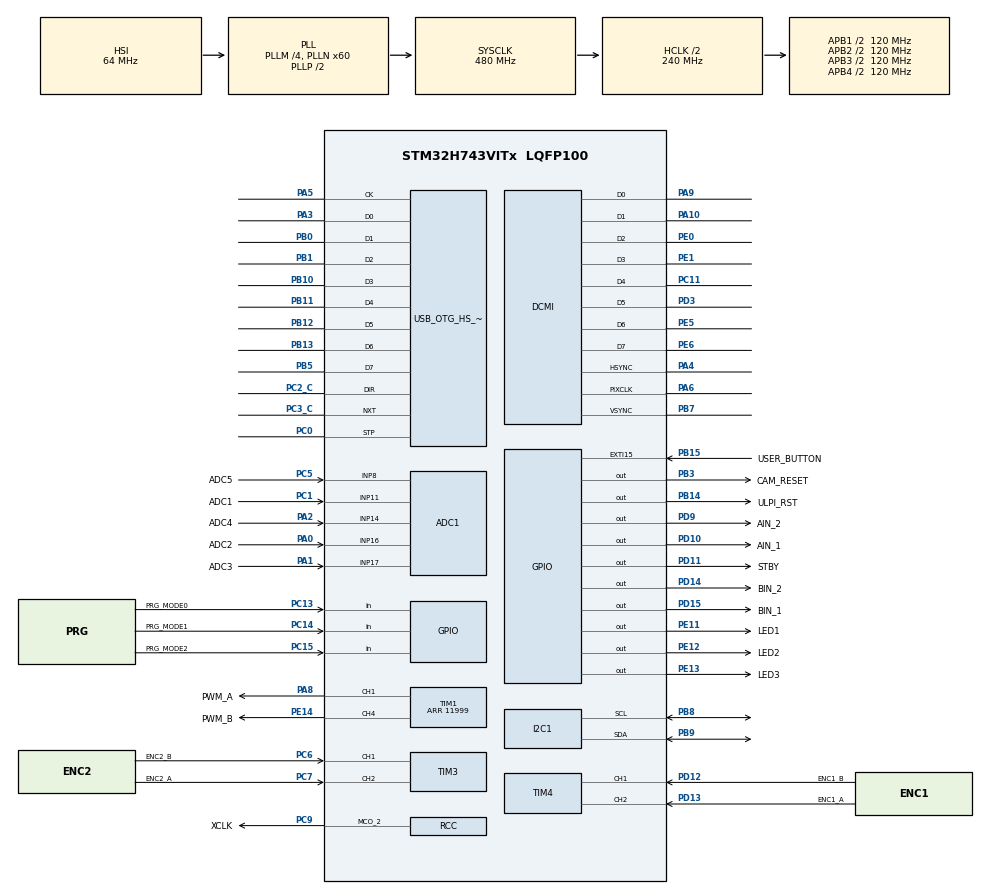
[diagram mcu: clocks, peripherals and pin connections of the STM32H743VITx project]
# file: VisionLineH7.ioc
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ADC1.Channel-1\#ChannelRegularConversion=ADC_CHANNEL_11
ADC1.Channel-2\#ChannelRegularConversion=ADC_CHANNEL_16
ADC1.Channel-3\#ChannelRegularConversion=ADC_CHANNEL_17
ADC1.Channel-4\#ChannelRegularConversion=ADC_CHANNEL_14
ADC1.Channel-5\#ChannelRegularConversion=ADC_CHANNEL_8
ADC1.ContinuousConvMode=ENABLE
ADC1.NbrOfConversion=5
ADC1.NbrOfConversionFlag=1
ADC1.OffsetNumber-1\#ChannelRegularConversion=ADC_OFFSET_NONE
ADC1.OffsetNumber-2\#ChannelRegularConversion=ADC_OFFSET_NONE
ADC1.OffsetNumber-3\#ChannelRegularConversion=ADC_OFFSET_NONE
ADC1.OffsetNumber-4\#ChannelRegularConversion=ADC_OFFSET_NONE
ADC1.OffsetNumber-5\#ChannelRegularConversion=ADC_OFFSET_NONE
ADC1.OffsetSignedSaturation-1\#ChannelRegularConversion=DISABLE
ADC1.OffsetSignedSaturation-2\#ChannelRegularConversion=DISABLE
ADC1.OffsetSignedSaturation-3\#ChannelRegularConversion=DISABLE
ADC1.OffsetSignedSaturation-4\#ChannelRegularConversion=DISABLE
ADC1.OffsetSignedSaturation-5\#ChannelRegularConversion=DISABLE
ADC1.Rank-1\#ChannelRegularConversion=1
ADC1.Rank-2\#ChannelRegularConversion=2
ADC1.Rank-3\#ChannelRegularConversion=3
ADC1.Rank-4\#ChannelRegularConversion=4
ADC1.Rank-5\#ChannelRegularConversion=5
ADC1.Ratio=4
ADC1.SamplingTime-1\#ChannelRegularConversion=ADC_SAMPLETIME_8CYCLES_5
ADC1.SamplingTime-2\#ChannelRegularConversion=ADC_SAMPLETIME_8CYCLES_5
ADC1.SamplingTime-3\#ChannelRegularConversion=ADC_SAMPLETIME_8CYCLES_5
ADC1.SamplingTime-4\#ChannelRegularConversion=ADC_SAMPLETIME_8CYCLES_5
ADC1.SamplingTime-5\#ChannelRegularConversion=ADC_SAMPLETIME_8CYCLES_5
ADC1.master=1
CORTEX_M7.CPU_DCache=Enabled
CORTEX_M7.CPU_ICache=Enabled
CORTEX_M7.default_mode_Activation=1
DCMI.CaptureRate=DCMI_CR_ALL_FRAME
DCMI.HSPolarity=DCMI_HSPOLARITY_LOW
DCMI.JPEGMode=DCMI_JPEG_DISABLE
DCMI.PCKPolarity=DCMI_PCKPOLARITY_RISING
DCMI.VSPolarity=DCMI_VSPOLARITY_LOW
Dma.ADC1.2.Direction=DMA_PERIPH_TO_MEMORY
Dma.ADC1.2.EventEnable=DISABLE
Dma.ADC1.2.FIFOMode=DMA_FIFOMODE_DISABLE
Dma.ADC1.2.Instance=DMA1_Stream2
Dma.ADC1.2.MemDataAlignment=DMA_MDATAALIGN_HALFWORD
Dma.ADC1.2.MemInc=DMA_MINC_ENABLE
Dma.ADC1.2.Mode=DMA_NORMAL
Dma.ADC1.2.PeriphDataAlignment=DMA_PDATAALIGN_HALFWORD
Dma.ADC1.2.PeriphInc=DMA_PINC_DISABLE
Dma.ADC1.2.Polarity=HAL_DMAMUX_REQ_GEN_RISING
Dma.ADC1.2.Priority=DMA_PRIORITY_HIGH
Dma.ADC1.2.RequestNumber=1
Dma.ADC1.2.SignalID=NONE
Dma.ADC1.2.SyncEnable=DISABLE
Dma.ADC1.2.SyncPolarity=HAL_DMAMUX_SYNC_NO_EVENT
Dma.ADC1.2.SyncRequestNumber=1
Dma.ADC1.2.SyncSignalID=NONE
Dma.DCMI.0.Direction=DMA_PERIPH_TO_MEMORY
Dma.DCMI.0.EventEnable=DISABLE
Dma.DCMI.0.FIFOMode=DMA_FIFOMODE_ENABLE
Dma.DCMI.0.FIFOThreshold=DMA_FIFO_THRESHOLD_FULL
Dma.DCMI.0.Instance=DMA1_Stream0
Dma.DCMI.0.MemBurst=DMA_MBURST_SINGLE
Dma.DCMI.0.MemDataAlignment=DMA_MDATAALIGN_WORD
Dma.DCMI.0.MemInc=DMA_MINC_ENABLE
Dma.DCMI.0.Mode=DMA_CIRCULAR
Dma.DCMI.0.PeriphBurst=DMA_PBURST_SINGLE
Dma.DCMI.0.PeriphDataAlignment=DMA_PDATAALIGN_WORD
Dma.DCMI.0.PeriphInc=DMA_PINC_DISABLE
Dma.DCMI.0.Polarity=HAL_DMAMUX_REQ_GEN_RISING
Dma.DCMI.0.Priority=DMA_PRIORITY_HIGH
Dma.DCMI.0.RequestNumber=1
Dma.DCMI.0.SignalID=NONE
Dma.DCMI.0.SyncEnable=DISABLE
Dma.DCMI.0.SyncPolarity=HAL_DMAMUX_SYNC_NO_EVENT
Dma.DCMI.0.SyncRequestNumber=1
Dma.DCMI.0.SyncSignalID=NONE
Dma.MEMTOMEM.1.Direction=DMA_MEMORY_TO_MEMORY
Dma.MEMTOMEM.1.EventEnable=DISABLE
Dma.MEMTOMEM.1.FIFOMode=DMA_FIFOMODE_ENABLE
Dma.MEMTOMEM.1.FIFOThreshold=DMA_FIFO_THRESHOLD_FULL
Dma.MEMTOMEM.1.Instance=DMA1_Stream1
Dma.MEMTOMEM.1.MemBurst=DMA_MBURST_INC4
Dma.MEMTOMEM.1.MemDataAlignment=DMA_MDATAALIGN_WORD
Dma.MEMTOMEM.1.MemInc=DMA_MINC_ENABLE
Dma.MEMTOMEM.1.Mode=DMA_NORMAL
Dma.MEMTOMEM.1.PeriphBurst=DMA_PBURST_INC4
Dma.MEMTOMEM.1.PeriphDataAlignment=DMA_PDATAALIGN_WORD
Dma.MEMTOMEM.1.PeriphInc=DMA_PINC_ENABLE
Dma.MEMTOMEM.1.Polarity=HAL_DMAMUX_REQ_GEN_RISING
Dma.MEMTOMEM.1.Priority=DMA_PRIORITY_HIGH
Dma.MEMTOMEM.1.RequestNumber=1
Dma.MEMTOMEM.1.SignalID=NONE
Dma.MEMTOMEM.1.SyncEnable=DISABLE
Dma.MEMTOMEM.1.SyncPolarity=HAL_DMAMUX_SYNC_NO_EVENT
Dma.MEMTOMEM.1.SyncRequestNumber=1
Dma.MEMTOMEM.1.SyncSignalID=NONE
Dma.Request0=DCMI
Dma.Request1=MEMTOMEM
Dma.Request2=ADC1
I2C1.Timing=0x307075B1
JPEG.JPEG_RGB_FORMAT=JPEG_RGB565
JPEG.USE_JPEG_DECODER=0
JPEG.USE_JPEG_ENCODER=1
Mcu.Family=STM32H7
Mcu.Name=STM32H743VITx
Mcu.Package=LQFP100
Mdma.MDMA_Channel0.JPEG_OUTFIFO_TH.0.BlockCount=0
Mdma.MDMA_Channel0.JPEG_OUTFIFO_TH.0.BlockDataLength=0
Mdma.MDMA_Channel0.JPEG_OUTFIFO_TH.0.BufferTransferLength=32
Mdma.MDMA_Channel0.JPEG_OUTFIFO_TH.0.CircularMode=MDMA_LINEAR_LIST
Mdma.MDMA_Channel0.JPEG_OUTFIFO_TH.0.DataAlignment=MDMA_DATAALIGN_PACKENABLE
Mdma.MDMA_Channel0.JPEG_OUTFIFO_TH.0.DestBlockAddressOffset=0
Mdma.MDMA_Channel0.JPEG_OUTFIFO_TH.0.DestBurst=MDMA_DEST_BURST_32BEATS
Mdma.MDMA_Channel0.JPEG_OUTFIFO_TH.0.DestDataSize=MDMA_DEST_DATASIZE_BYTE
Mdma.MDMA_Channel0.JPEG_OUTFIFO_TH.0.DestinationInc=MDMA_DEST_INC_BYTE
Mdma.MDMA_Channel0.JPEG_OUTFIFO_TH.0.DstAddress=0
Mdma.MDMA_Channel0.JPEG_OUTFIFO_TH.0.Endianness=MDMA_LITTLE_ENDIANNESS_PRESERVE
Mdma.MDMA_Channel0.JPEG_OUTFIFO_TH.0.Instance=MDMA_Channel0
Mdma.MDMA_Channel0.JPEG_OUTFIFO_TH.0.MaskAddress=0
Mdma.MDMA_Channel0.JPEG_OUTFIFO_TH.0.MaskData=0
Mdma.MDMA_Channel0.JPEG_OUTFIFO_TH.0.Priority=MDMA_PRIORITY_VERY_HIGH
Mdma.MDMA_Channel0.JPEG_OUTFIFO_TH.0.Rank=First
Mdma.MDMA_Channel0.JPEG_OUTFIFO_TH.0.SourceBlockAddressOffset=0
Mdma.MDMA_Channel0.JPEG_OUTFIFO_TH.0.SourceBurst=MDMA_SOURCE_BURST_32BEATS
Mdma.MDMA_Channel0.JPEG_OUTFIFO_TH.0.SourceDataSize=MDMA_SRC_DATASIZE_WORD
Mdma.MDMA_Channel0.JPEG_OUTFIFO_TH.0.SourceInc=MDMA_SRC_INC_DISABLE
Mdma.MDMA_Channel0.JPEG_OUTFIFO_TH.0.SrcAddress=0
Mdma.MDMA_Channel0.JPEG_OUTFIFO_TH.0.TransferTriggerMode=MDMA_BUFFER_TRANSFER
Mdma.MDMA_Channel0.Request0=JPEG_OUTFIFO_TH
Mdma.MDMA_Channel0.RequestsNb=1
Mdma.MDMA_Channel1.JPEG_INFIFO_TH.0.BlockCount=0
Mdma.MDMA_Channel1.JPEG_INFIFO_TH.0.BlockDataLength=0
Mdma.MDMA_Channel1.JPEG_INFIFO_TH.0.BufferTransferLength=32
Mdma.MDMA_Channel1.JPEG_INFIFO_TH.0.CircularMode=MDMA_LINEAR_LIST
Mdma.MDMA_Channel1.JPEG_INFIFO_TH.0.DataAlignment=MDMA_DATAALIGN_PACKENABLE
Mdma.MDMA_Channel1.JPEG_INFIFO_TH.0.DestBlockAddressOffset=0
Mdma.MDMA_Channel1.JPEG_INFIFO_TH.0.DestBurst=MDMA_DEST_BURST_16BEATS
Mdma.MDMA_Channel1.JPEG_INFIFO_TH.0.DestDataSize=MDMA_DEST_DATASIZE_WORD
Mdma.MDMA_Channel1.JPEG_INFIFO_TH.0.DestinationInc=MDMA_DEST_INC_DISABLE
Mdma.MDMA_Channel1.JPEG_INFIFO_TH.0.DstAddress=0
Mdma.MDMA_Channel1.JPEG_INFIFO_TH.0.Endianness=MDMA_LITTLE_ENDIANNESS_PRESERVE
Mdma.MDMA_Channel1.JPEG_INFIFO_TH.0.Instance=MDMA_Channel1
Mdma.MDMA_Channel1.JPEG_INFIFO_TH.0.MaskAddress=0
Mdma.MDMA_Channel1.JPEG_INFIFO_TH.0.MaskData=0
Mdma.MDMA_Channel1.JPEG_INFIFO_TH.0.Priority=MDMA_PRIORITY_VERY_HIGH
Mdma.MDMA_Channel1.JPEG_INFIFO_TH.0.Rank=First
Mdma.MDMA_Channel1.JPEG_INFIFO_TH.0.SourceBlockAddressOffset=0
Mdma.MDMA_Channel1.JPEG_INFIFO_TH.0.SourceBurst=MDMA_SOURCE_BURST_32BEATS
Mdma.MDMA_Channel1.JPEG_INFIFO_TH.0.SourceDataSize=MDMA_SRC_DATASIZE_BYTE
Mdma.MDMA_Channel1.JPEG_INFIFO_TH.0.SourceInc=MDMA_SRC_INC_BYTE
Mdma.MDMA_Channel1.JPEG_INFIFO_TH.0.SrcAddress=0
Mdma.MDMA_Channel1.JPEG_INFIFO_TH.0.TransferTriggerMode=MDMA_BUFFER_TRANSFER
Mdma.MDMA_Channel1.Request0=JPEG_INFIFO_TH
Mdma.MDMA_Channel1.RequestsNb=1
Mdma.RequestSet0=MDMA_Channel1
Mdma.RequestSet1=MDMA_Channel0
Mdma.RequestSetsNb=2
NVIC.DCMI_IRQn=true\:0\:0\:false\:false\:true\:true\:true\:true
NVIC.DMA1_Stream0_IRQn=true\:0\:0\:false\:false\:true\:false\:true\:true
NVIC.DMA1_Stream2_IRQn=true\:0\:0\:false\:false\:true\:false\:true\:true
NVIC.EXTI15_10_IRQn=true\:0\:0\:false\:false\:true\:true\:true\:true
NVIC.JPEG_IRQn=true\:0\:0\:false\:false\:true\:true\:true\:true
NVIC.MDMA_IRQn=true\:0\:0\:false\:false\:true\:false\:true\:true
NVIC.OTG_HS_IRQn=true\:0\:0\:false\:false\:true\:true\:true\:true
NVIC.PriorityGroup=NVIC_PRIORITYGROUP_4
NVIC.TIM7_IRQn=true\:15\:0\:false\:false\:true\:true\:true\:true
PA0.GPIO_Label=ADC2
PA0.Mode=IN16-Single-Ended
PA0.Signal=ADC1_INP16
PA1.GPIO_Label=ADC3
PA1.Mode=IN17-Single-Ended
PA1.Signal=ADC1_INP17
PA10.GPIO_Speed=GPIO_SPEED_FREQ_VERY_HIGH
PA10.Mode=Slave_8_bits_External_Synchro
PA10.Signal=DCMI_D1
PA13\ (JTMS/SWDIO).Mode=Serial_Wire
PA13\ (JTMS/SWDIO).Signal=DEBUG_JTMS-SWDIO
PA14\ (JTCK/SWCLK).Mode=Serial_Wire
PA14\ (JTCK/SWCLK).Signal=DEBUG_JTCK-SWCLK
PA2.GPIO_Label=ADC4
PA2.Signal=ADCx_INP14
PA3.GPIO_Speed_Only_High=GPIO_SPEED_FREQ_VERY_HIGH
PA3.Mode=Device_HS
PA3.Signal=USB_OTG_HS_ULPI_D0
PA4.GPIO_Speed=GPIO_SPEED_FREQ_VERY_HIGH
PA4.Mode=Slave_8_bits_External_Synchro
PA4.Signal=DCMI_HSYNC
PA5.GPIO_Speed_Only_High=GPIO_SPEED_FREQ_VERY_HIGH
PA5.Mode=Device_HS
PA5.Signal=USB_OTG_HS_ULPI_CK
PA6.GPIO_Speed=GPIO_SPEED_FREQ_VERY_HIGH
PA6.Mode=Slave_8_bits_External_Synchro
PA6.Signal=DCMI_PIXCLK
PA8.GPIO_Label=PWM_A
PA8.Signal=S_TIM1_CH1
PA9.GPIO_Speed=GPIO_SPEED_FREQ_VERY_HIGH
PA9.Mode=Slave_8_bits_External_Synchro
PA9.Signal=DCMI_D0
PB0.GPIO_Speed_Only_High=GPIO_SPEED_FREQ_VERY_HIGH
PB0.Mode=Device_HS
PB0.Signal=USB_OTG_HS_ULPI_D1
PB1.GPIO_Speed_Only_High=GPIO_SPEED_FREQ_VERY_HIGH
PB1.Mode=Device_HS
PB1.Signal=USB_OTG_HS_ULPI_D2
PB10.GPIO_Speed_Only_High=GPIO_SPEED_FREQ_VERY_HIGH
PB10.Mode=Device_HS
PB10.Signal=USB_OTG_HS_ULPI_D3
PB11.GPIO_Speed_Only_High=GPIO_SPEED_FREQ_VERY_HIGH
PB11.Mode=Device_HS
PB11.Signal=USB_OTG_HS_ULPI_D4
PB12.GPIO_Speed_Only_High=GPIO_SPEED_FREQ_VERY_HIGH
PB12.Mode=Device_HS
PB12.Signal=USB_OTG_HS_ULPI_D5
PB13.GPIO_Speed_Only_High=GPIO_SPEED_FREQ_VERY_HIGH
PB13.Mode=Device_HS
PB13.Signal=USB_OTG_HS_ULPI_D6
PB14.GPIO_Label=ULPI_RST
PB14.Signal=GPIO_Output
PB15.GPIO_Label=USER_BUTTON
PB15.GPIO_ModeDefaultEXTI=GPIO_MODE_IT_FALLING
PB15.Signal=GPXTI15
PB3\ (JTDO/TRACESWO).GPIO_Label=CAM_RESET
PB3\ (JTDO/TRACESWO).Signal=GPIO_Output
PB5.GPIO_Speed_Only_High=GPIO_SPEED_FREQ_VERY_HIGH
PB5.Mode=Device_HS
PB5.Signal=USB_OTG_HS_ULPI_D7
PB7.GPIO_FM7=__NULL
PB7.GPIO_Speed=GPIO_SPEED_FREQ_VERY_HIGH
PB7.Mode=Slave_8_bits_External_Synchro
PB7.Signal=DCMI_VSYNC
PB8.Mode=I2C
PB8.Signal=I2C1_SCL
PB9.Mode=I2C
PB9.Signal=I2C1_SDA
PC0.GPIO_Speed_Only_High=GPIO_SPEED_FREQ_VERY_HIGH
PC0.Mode=Device_HS
PC0.Signal=USB_OTG_HS_ULPI_STP
PC1.GPIO_Label=ADC1
PC1.Signal=ADCx_INP11
PC11.GPIO_Speed=GPIO_SPEED_FREQ_VERY_HIGH
PC11.Mode=Slave_8_bits_External_Synchro
PC11.Signal=DCMI_D4
PC13.GPIO_Label=PRG_MODE0
PC13.Signal=GPIO_Input
PC14-OSC32_IN\ (OSC32_IN).GPIO_Label=PRG_MODE1
PC14-OSC32_IN\ (OSC32_IN).Signal=GPIO_Input
PC15-OSC32_OUT\ (OSC32_OUT).GPIO_Label=PRG_MODE2
PC15-OSC32_OUT\ (OSC32_OUT).Signal=GPIO_Input
PC2_C.GPIO_Speed_Only_High=GPIO_SPEED_FREQ_VERY_HIGH
PC2_C.Mode=Device_HS
PC2_C.Signal=USB_OTG_HS_ULPI_DIR
PC3_C.GPIO_Speed_Only_High=GPIO_SPEED_FREQ_VERY_HIGH
PC3_C.Mode=Device_HS
PC3_C.Signal=USB_OTG_HS_ULPI_NXT
PC5.GPIO_Label=ADC5
PC5.Signal=ADCx_INP8
PC6.GPIO_Label=ENC2_B
PC6.Signal=S_TIM3_CH1
PC7.GPIO_Label=ENC2_A
PC7.Signal=S_TIM3_CH2
PC9.GPIO_Label=XCLK
PC9.GPIO_Speed=GPIO_SPEED_FREQ_HIGH
PC9.Mode=Clock-out-2
PC9.Signal=RCC_MCO_2
PD10.GPIO_Label=AIN_1
PD10.Signal=GPIO_Output
PD11.GPIO_Label=STBY
PD11.Signal=GPIO_Output
PD12.GPIO_Label=ENC1_B
PD12.Signal=S_TIM4_CH1
PD13.GPIO_Label=ENC1_A
PD13.Signal=S_TIM4_CH2
PD14.GPIO_Label=BIN_2
PD14.Signal=GPIO_Output
PD15.GPIO_Label=BIN_1
PD15.Signal=GPIO_Output
PD3.GPIO_Speed=GPIO_SPEED_FREQ_VERY_HIGH
PD3.Mode=Slave_8_bits_External_Synchro
PD3.Signal=DCMI_D5
PD9.GPIO_Label=AIN_2
PD9.Signal=GPIO_Output
PE0.GPIO_Speed=GPIO_SPEED_FREQ_VERY_HIGH
PE0.Mode=Slave_8_bits_External_Synchro
PE0.Signal=DCMI_D2
PE1.GPIO_Speed=GPIO_SPEED_FREQ_VERY_HIGH
PE1.Mode=Slave_8_bits_External_Synchro
PE1.Signal=DCMI_D3
PE11.GPIO_Label=LED1
PE11.Signal=GPIO_Output
PE12.GPIO_Label=LED2
PE12.Signal=GPIO_Output
PE13.GPIO_Label=LED3
PE13.Signal=GPIO_Output
PE14.GPIO_Label=PWM_B
PE14.Signal=S_TIM1_CH4
PE5.GPIO_Speed=GPIO_SPEED_FREQ_VERY_HIGH
PE5.Mode=Slave_8_bits_External_Synchro
PE5.Signal=DCMI_D6
PE6.GPIO_Speed=GPIO_SPEED_FREQ_VERY_HIGH
PE6.Mode=Slave_8_bits_External_Synchro
PE6.Signal=DCMI_D7
PH0-OSC_IN\ (PH0).Mode=HSE-External-Oscillator
PH0-OSC_IN\ (PH0).Signal=RCC_OSC_IN
PH1-OSC_OUT\ (PH1).Mode=HSE-External-Oscillator
PH1-OSC_OUT\ (PH1).Signal=RCC_OSC_OUT
ProjectManager.HeapSize=0x200
ProjectManager.StackSize=0x400
ProjectManager.TargetToolchain=CMake
RAMECC.Instance-RAMECC1_Monitor1=RAMECC1_Monitor1
RAMECC.Instance-RAMECC1_Monitor2=RAMECC1_Monitor2
RAMECC.Instance-RAMECC1_Monitor3=RAMECC1_Monitor3
RAMECC.Instance-RAMECC1_Monitor4=RAMECC1_Monitor4
RAMECC.Instance-RAMECC1_Monitor5=RAMECC1_Monitor5
RCC.ADCFreq_Value=80000000
RCC.APB1Freq_Value=120000000
RCC.APB2Freq_Value=120000000
RCC.APB3Freq_Value=120000000
RCC.APB4Freq_Value=120000000
RCC.CortexFreq_Value=480000000
RCC.D1PPRE=RCC_APB3_DIV2
RCC.D2PPRE1=RCC_APB1_DIV2
RCC.D2PPRE2=RCC_APB2_DIV2
RCC.D3PPRE=RCC_APB4_DIV2
RCC.DIVM1=4
RCC.DIVM2=4
RCC.DIVN1=60
RCC.DIVN2=10
RCC.HCLKFreq_Value=240000000
RCC.HPRE=RCC_HCLK_DIV2
RCC.HSE_VALUE=24000000
RCC.PLL2FRACN=0
RCC.PLL3FRACN=0
RCC.PLLFRACN=0
RCC.RCC_MCO2Source=RCC_MCO2SOURCE_PLLCLK
RCC.RCC_MCODiv2=RCC_MCODIV_15
RCC.SYSCLKFreq_VALUE=480000000
RCC.SYSCLKSource=RCC_SYSCLKSOURCE_PLLCLK
RCC.USBCLockSelection=RCC_USBCLKSOURCE_HSI48
RCC.USBFreq_Value=48000000
SH.ADCx_INP11.0=ADC1_INP11,IN11-Single-Ended
SH.ADCx_INP14.0=ADC1_INP14,IN14-Single-Ended
SH.ADCx_INP8.0=ADC1_INP8,IN8-Single-Ended
SH.S_TIM1_CH1.0=TIM1_CH1,PWM Generation1 CH1
SH.S_TIM1_CH4.0=TIM1_CH4,PWM Generation4 CH4
SH.S_TIM3_CH1.0=TIM3_CH1,Encoder_Interface
SH.S_TIM3_CH2.0=TIM3_CH2,Encoder_Interface
SH.S_TIM4_CH1.0=TIM4_CH1,Encoder_Interface
SH.S_TIM4_CH2.0=TIM4_CH2,Encoder_Interface
TIM1.Channel-PWM\ Generation1\ CH1=TIM_CHANNEL_1
TIM1.Channel-PWM\ Generation4\ CH4=TIM_CHANNEL_4
TIM1.Period=11999
TIM3.EncoderMode=TIM_ENCODERMODE_TI12
TIM4.EncoderMode=TIM_ENCODERMODE_TI12
TIM7.Period=9999
TIM7.Prescaler=239
USB_OTG_HS.Sof_enable-Device_HS=ENABLE
USB_OTG_HS.VirtualMode-Device_HS=Device_HS
USB_OTG_HS.dma_enable-Device_HS=ENABLE
VP_JPEG_VS_JPEG.Mode=JPEG_Activate
VP_MEMORYMAP_VS_MEMORYMAP.Mode=CurAppReg
VP_RAMECC_VS_D1_1.Mode=RAMECC1_Monitor1
VP_RAMECC_VS_D1_2.Mode=RAMECC1_Monitor2
VP_RAMECC_VS_D1_3.Mode=RAMECC1_Monitor3
VP_RAMECC_VS_D1_4.Mode=RAMECC1_Monitor4
VP_RAMECC_VS_D1_5.Mode=RAMECC1_Monitor5
VP_RNG_VS_RNG.Mode=RNG_Activate
VP_TIM7_VS_ClockSourceINT.Mode=Enable_Timer
board=custom

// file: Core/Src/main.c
/* USER CODE BEGIN Header */
/**
 ******************************************************************************
 * @file           : main.c
 * @brief          : Main program body
 ******************************************************************************
 * @attention
 *
 * Copyright (c) 2026 STMicroelectronics.
 * All rights reserved.
 *
 * This software is licensed under terms that can be found in the LICENSE file
 * in the root directory of this software component.
 * If no LICENSE file comes with this software, it is provided AS-IS.
 *
 ******************************************************************************
 */
 /* USER CODE END Header */
 /* Includes ------------------------------------------------------------------*/
#include "main.h"

/* USER CODE BEGIN Includes */
#include "ov5640.h"
#include "tusb.h"
#include "sys_mode.h"
#include "usb_descriptor.h"
#include "boot_mode.h"
#include <string.h>
#include <stdio.h>
/* USER CODE END Includes */

ADC_HandleTypeDef hadc1;
DMA_HandleTypeDef hdma_adc1;

DCMI_HandleTypeDef hdcmi;
DMA_HandleTypeDef hdma_dcmi;

I2C_HandleTypeDef hi2c1;

JPEG_HandleTypeDef hjpeg;
MDMA_HandleTypeDef hmdma_jpeg_infifo_th;
MDMA_HandleTypeDef hmdma_jpeg_outfifo_th;

RAMECC_HandleTypeDef hramecc1_m1;
RAMECC_HandleTypeDef hramecc1_m2;
RAMECC_HandleTypeDef hramecc1_m3;
RAMECC_HandleTypeDef hramecc1_m4;
RAMECC_HandleTypeDef hramecc1_m5;

RNG_HandleTypeDef hrng;

TIM_HandleTypeDef htim1;
TIM_HandleTypeDef htim3;
TIM_HandleTypeDef htim4;
TIM_HandleTypeDef htim7;

PCD_HandleTypeDef hpcd_USB_OTG_HS;

DMA_HandleTypeDef hdma_memtomem_dma1_stream1;

void SystemClock_Config(void);
static void MPU_Config(void);
static void MX_GPIO_Init(void);
static void MX_MDMA_Init(void);
static void MX_DMA_Init(void);
static void MX_ADC1_Init(void);
static void MX_DCMI_Init(void);
static void MX_I2C1_Init(void);
static void MX_TIM1_Init(void);
static void MX_TIM3_Init(void);
static void MX_TIM4_Init(void);
static void MX_JPEG_Init(void);
static void MX_USB_OTG_HS_PCD_Init(void);
static void MX_RNG_Init(void);
static void MX_RAMECC_Init(void);
static void MX_TIM7_Init(void);

/* USER CODE BEGIN 0 */

sys_run_mode_t run_mode = SYS_MODE_IDLE;
static char cdc_command[32];
static uint8_t cdc_command_length;

static void cdc_print_help(void)
{
	const char* help =
		"Commands:\r\n"
		"  MODE <0-7>\r\n"
		"  RESET\r\n"
		"  DFU\r\n"
		"  CLEAR\r\n";
	tud_cdc_n_write(0, help, (uint32_t)strlen(help));
	tud_cdc_n_write_flush(0);
}

static void cdc_process_command(const char* command)
{
	uint32_t mode;

	if (sscanf(command, "MODE %lu", &mode) == 1 && mode <= 7U)
	{
		boot_mode_write(mode);
		tud_cdc_n_write_str(0, "Boot mode saved. Resetting.\r\n");
		tud_cdc_n_write_flush(0);
		HAL_Delay(50);
		NVIC_SystemReset();
	}
	else if (strcmp(command, "DFU") == 0)
	{
		boot_mode_write(BOOT_MODE_DFU);
		tud_cdc_n_write_str(0, "Entering DFU. Resetting.\r\n");
		tud_cdc_n_write_flush(0);
		HAL_Delay(50);
		NVIC_SystemReset();
	}
	else if (strcmp(command, "RESET") == 0)
	{
		tud_cdc_n_write_str(0, "Resetting.\r\n");
		tud_cdc_n_write_flush(0);
		HAL_Delay(50);
		NVIC_SystemReset();
	}
	else if (strcmp(command, "CLEAR") == 0)
	{
		boot_mode_clear();
		tud_cdc_n_write_str(0, "Boot mode cleared.\r\n");
		tud_cdc_n_write_flush(0);
	}
	else
	{
		tud_cdc_n_write_str(0, "Unknown command.\r\n");
		cdc_print_help();
	}
}

void tud_cdc_rx_cb(uint8_t itf)
{
	while (tud_cdc_n_available(itf))
	{
		char ch = (char)tud_cdc_n_read_char(itf);

		if (ch == '\r' || ch == '\n')
		{
			if (cdc_command_length > 0U)
			{
				cdc_command[cdc_command_length] = '\0';
				cdc_process_command(cdc_command);
				cdc_command_length = 0U;
			}
		}
		else if (cdc_command_length < (sizeof(cdc_command) - 1U))
		{
			cdc_command[cdc_command_length++] = ch;
		}
	}
}

void HAL_GPIO_EXTI_Callback(uint16_t GPIO_Pin)
{
	static uint32_t last_tick = 0;
	uint32_t now = HAL_GetTick();

	if (GPIO_Pin == USER_BUTTON_Pin && (uint32_t)(now - last_tick) >= 500U)
	{
		last_tick = now;
		if (run_mode != SYS_MODE_STOPPED)
		{
			run_mode++;
		}
	}
}

void tud_mount_cb(void) {
	HAL_GPIO_WritePin(LED1_GPIO_Port, LED1_Pin, 1);
}

void tud_umount_cb(void) {
	HAL_GPIO_WritePin(LED1_GPIO_Port, LED1_Pin, 0);
}

uint32_t tusb_time_millis_api(void)
{
	return HAL_GetTick();
}

/**
 * @brief  Overload hàm printf bằng cổng CDC của USB HS.
 */
int _write(int file, char* data, int len)
{
	UNUSED(file);

	uint32_t written = tud_cdc_n_write(0, data, (uint32_t)len);
	tud_cdc_n_write_flush(0);
	tud_task_ext(0, false);

	return (int)written;
}
/* USER CODE END 0 */

int main(void)
{

	/* MPU Configuration--------------------------------------------------------*/
	MPU_Config();

	/* Enable the CPU Cache */

	/* Enable I-Cache---------------------------------------------------------*/
	SCB_EnableICache();

	/* Enable D-Cache---------------------------------------------------------*/
	SCB_EnableDCache();

	/* MCU Configuration--------------------------------------------------------*/

	/* Reset of all peripherals, Initializes the Flash interface and the Systick. */
	HAL_Init();

	/* Configure the system clock */
	SystemClock_Config();

	/* Initialize all configured peripherals */
	MX_GPIO_Init();
	MX_MDMA_Init();
	MX_DMA_Init();
	MX_ADC1_Init();
	MX_DCMI_Init();
	MX_I2C1_Init();
	MX_TIM1_Init();
	MX_TIM3_Init();
	MX_TIM4_Init();
	MX_JPEG_Init();
	MX_USB_OTG_HS_PCD_Init();
	MX_RNG_Init();
	MX_RAMECC_Init();
	MX_TIM7_Init();
	/* USER CODE BEGIN 2 */

	tusb_rhport_init_t dev_init = {
	  .role = TUSB_ROLE_DEVICE,
	  .speed = TUSB_SPEED_HIGH
	};

	if (!tusb_init(BOARD_TUD_RHPORT, &dev_init))
	{
		Error_Handler();
	}

	sys_mode_t current_mode = sys_mode_init();
	if (current_mode == SYS_MODE_USB_WEBCAM)
	{
		run_mode = SYS_MODE_RUNNING;
	}
	else
	{
		sys_mode_stop(current_mode);
	}

	/* USER CODE END 2 */

	/* Infinite loop */
	/* USER CODE BEGIN WHILE */
	while (1)
	{
		if (run_mode == SYS_MODE_RUNNING)
		{
			sys_mode_run(current_mode);
		}
		else if (run_mode == SYS_MODE_STOPPED)
		{
			sys_mode_stop(current_mode);
			run_mode = SYS_MODE_IDLE;
		}
		tud_task();

		/* USER CODE END WHILE */

	}
}

void SystemClock_Config(void)
{
	RCC_OscInitTypeDef RCC_OscInitStruct = { 0 };
	RCC_ClkInitTypeDef RCC_ClkInitStruct = { 0 };

	/** Supply configuration update enable
	*/
	HAL_PWREx_ConfigSupply(PWR_LDO_SUPPLY);

	/** Configure the main internal regulator output voltage
	*/
	__HAL_PWR_VOLTAGESCALING_CONFIG(PWR_REGULATOR_VOLTAGE_SCALE0);

	while (!__HAL_PWR_GET_FLAG(PWR_FLAG_VOSRDY)) {}

	/** Initializes the RCC Oscillators according to the specified parameters
	* in the RCC_OscInitTypeDef structure.
	*/
	RCC_OscInitStruct.OscillatorType = RCC_OSCILLATORTYPE_HSI48 | RCC_OSCILLATORTYPE_HSI;
	RCC_OscInitStruct.HSIState = RCC_HSI_DIV1;
	RCC_OscInitStruct.HSICalibrationValue = RCC_HSICALIBRATION_DEFAULT;
	RCC_OscInitStruct.HSI48State = RCC_HSI48_ON;
	RCC_OscInitStruct.PLL.PLLState = RCC_PLL_ON;
	RCC_OscInitStruct.PLL.PLLSource = RCC_PLLSOURCE_HSI;
	RCC_OscInitStruct.PLL.PLLM = 4;
	RCC_OscInitStruct.PLL.PLLN = 60;
	RCC_OscInitStruct.PLL.PLLP = 2;
	RCC_OscInitStruct.PLL.PLLQ = 2;
	RCC_OscInitStruct.PLL.PLLR = 2;
	RCC_OscInitStruct.PLL.PLLRGE = RCC_PLL1VCIRANGE_3;
	RCC_OscInitStruct.PLL.PLLVCOSEL = RCC_PLL1VCOWIDE;
	RCC_OscInitStruct.PLL.PLLFRACN = 0;
	if (HAL_RCC_OscConfig(&RCC_OscInitStruct) != HAL_OK)
	{
		Error_Handler();
	}

	/** Initializes the CPU, AHB and APB buses clocks
	*/
	RCC_ClkInitStruct.ClockType = RCC_CLOCKTYPE_HCLK | RCC_CLOCKTYPE_SYSCLK
		| RCC_CLOCKTYPE_PCLK1 | RCC_CLOCKTYPE_PCLK2
		| RCC_CLOCKTYPE_D3PCLK1 | RCC_CLOCKTYPE_D1PCLK1;
	RCC_ClkInitStruct.SYSCLKSource = RCC_SYSCLKSOURCE_PLLCLK;
	RCC_ClkInitStruct.SYSCLKDivider = RCC_SYSCLK_DIV1;
	RCC_ClkInitStruct.AHBCLKDivider = RCC_HCLK_DIV2;
	RCC_ClkInitStruct.APB3CLKDivider = RCC_APB3_DIV2;
	RCC_ClkInitStruct.APB1CLKDivider = RCC_APB1_DIV2;
	RCC_ClkInitStruct.APB2CLKDivider = RCC_APB2_DIV2;
	RCC_ClkInitStruct.APB4CLKDivider = RCC_APB4_DIV2;

	if (HAL_RCC_ClockConfig(&RCC_ClkInitStruct, FLASH_LATENCY_4) != HAL_OK)
	{
		Error_Handler();
	}
	__HAL_RCC_PLLCLKOUT_ENABLE(RCC_PLL1_DIVP);
	HAL_RCC_MCOConfig(RCC_MCO2, RCC_MCO2SOURCE_PLLCLK, RCC_MCODIV_15);
}

static void MX_ADC1_Init(void)
{

	ADC_MultiModeTypeDef multimode = { 0 };
	ADC_ChannelConfTypeDef sConfig = { 0 };

	/** Common config
	*/
	hadc1.Instance = ADC1;
	hadc1.Init.ClockPrescaler = ADC_CLOCK_ASYNC_DIV1;
	hadc1.Init.Resolution = ADC_RESOLUTION_16B;
	hadc1.Init.ScanConvMode = ADC_SCAN_ENABLE;
	hadc1.Init.EOCSelection = ADC_EOC_SINGLE_CONV;
	hadc1.Init.LowPowerAutoWait = DISABLE;
	hadc1.Init.ContinuousConvMode = ENABLE;
	hadc1.Init.NbrOfConversion = 5;
	hadc1.Init.DiscontinuousConvMode = DISABLE;
	hadc1.Init.ExternalTrigConv = ADC_SOFTWARE_START;
	hadc1.Init.ExternalTrigConvEdge = ADC_EXTERNALTRIGCONVEDGE_NONE;
	hadc1.Init.ConversionDataManagement = ADC_CONVERSIONDATA_DMA_ONESHOT;
	hadc1.Init.Overrun = ADC_OVR_DATA_PRESERVED;
	hadc1.Init.LeftBitShift = ADC_LEFTBITSHIFT_NONE;
	hadc1.Init.OversamplingMode = DISABLE;
	hadc1.Init.Oversampling.Ratio = 4;
	if (HAL_ADC_Init(&hadc1) != HAL_OK)
	{
		Error_Handler();
	}

	/** Configure the ADC multi-mode
	*/
	multimode.Mode = ADC_MODE_INDEPENDENT;
	if (HAL_ADCEx_MultiModeConfigChannel(&hadc1, &multimode) != HAL_OK)
	{
		Error_Handler();
	}

	/** Configure Regular Channel
	*/
	sConfig.Channel = ADC_CHANNEL_11;
	sConfig.Rank = ADC_REGULAR_RANK_1;
	sConfig.SamplingTime = ADC_SAMPLETIME_8CYCLES_5;
	sConfig.SingleDiff = ADC_SINGLE_ENDED;
	sConfig.OffsetNumber = ADC_OFFSET_NONE;
	sConfig.Offset = 0;
	sConfig.OffsetSignedSaturation = DISABLE;
	if (HAL_ADC_ConfigChannel(&hadc1, &sConfig) != HAL_OK)
	{
		Error_Handler();
	}

	/** Configure Regular Channel
	*/
	sConfig.Channel = ADC_CHANNEL_16;
	sConfig.Rank = ADC_REGULAR_RANK_2;
	if (HAL_ADC_ConfigChannel(&hadc1, &sConfig) != HAL_OK)
	{
		Error_Handler();
	}

	/** Configure Regular Channel
	*/
	sConfig.Channel = ADC_CHANNEL_17;
	sConfig.Rank = ADC_REGULAR_RANK_3;
	if (HAL_ADC_ConfigChannel(&hadc1, &sConfig) != HAL_OK)
	{
		Error_Handler();
	}

	/** Configure Regular Channel
	*/
	sConfig.Channel = ADC_CHANNEL_14;
	sConfig.Rank = ADC_REGULAR_RANK_4;
	if (HAL_ADC_ConfigChannel(&hadc1, &sConfig) != HAL_OK)
	{
		Error_Handler();
	}

	/** Configure Regular Channel
	*/
	sConfig.Channel = ADC_CHANNEL_8;
	sConfig.Rank = ADC_REGULAR_RANK_5;
	if (HAL_ADC_ConfigChannel(&hadc1, &sConfig) != HAL_OK)
	{
		Error_Handler();
	}

}

static void MX_DCMI_Init(void)
{

	hdcmi.Instance = DCMI;
	hdcmi.Init.SynchroMode = DCMI_SYNCHRO_HARDWARE;
	hdcmi.Init.PCKPolarity = DCMI_PCKPOLARITY_RISING;
	hdcmi.Init.VSPolarity = DCMI_VSPOLARITY_LOW;
	hdcmi.Init.HSPolarity = DCMI_HSPOLARITY_LOW;
	hdcmi.Init.CaptureRate = DCMI_CR_ALL_FRAME;
	hdcmi.Init.ExtendedDataMode = DCMI_EXTEND_DATA_8B;
	hdcmi.Init.JPEGMode = DCMI_JPEG_DISABLE;
	hdcmi.Init.ByteSelectMode = DCMI_BSM_ALL;
	hdcmi.Init.ByteSelectStart = DCMI_OEBS_ODD;
	hdcmi.Init.LineSelectMode = DCMI_LSM_ALL;
	hdcmi.Init.LineSelectStart = DCMI_OELS_ODD;
	if (HAL_DCMI_Init(&hdcmi) != HAL_OK)
	{
		Error_Handler();
	}

}

static void MX_I2C1_Init(void)
{

	hi2c1.Instance = I2C1;
	hi2c1.Init.Timing = 0x307075B1;
	hi2c1.Init.OwnAddress1 = 0;
	hi2c1.Init.AddressingMode = I2C_ADDRESSINGMODE_7BIT;
	hi2c1.Init.DualAddressMode = I2C_DUALADDRESS_DISABLE;
	hi2c1.Init.OwnAddress2 = 0;
	hi2c1.Init.OwnAddress2Masks = I2C_OA2_NOMASK;
	hi2c1.Init.GeneralCallMode = I2C_GENERALCALL_DISABLE;
	hi2c1.Init.NoStretchMode = I2C_NOSTRETCH_DISABLE;
	if (HAL_I2C_Init(&hi2c1) != HAL_OK)
	{
		Error_Handler();
	}

	/** Configure Analogue filter
	*/
	if (HAL_I2CEx_ConfigAnalogFilter(&hi2c1, I2C_ANALOGFILTER_ENABLE) != HAL_OK)
	{
		Error_Handler();
	}

	/** Configure Digital filter
	*/
	if (HAL_I2CEx_ConfigDigitalFilter(&hi2c1, 0) != HAL_OK)
	{
		Error_Handler();
	}

}

static void MX_JPEG_Init(void)
{

	hjpeg.Instance = JPEG;
	if (HAL_JPEG_Init(&hjpeg) != HAL_OK)
	{
		Error_Handler();
	}

}

static void MX_RAMECC_Init(void)
{

	/** Initialize RAMECC1 M1 : AXI SRAM
	*/
	hramecc1_m1.Instance = RAMECC1_Monitor1;
	if (HAL_RAMECC_Init(&hramecc1_m1) != HAL_OK)
	{
		Error_Handler();
	}

	/** Initialize RAMECC1 M2 : ITCM-RAM
	*/
	hramecc1_m2.Instance = RAMECC1_Monitor2;
	if (HAL_RAMECC_Init(&hramecc1_m2) != HAL_OK)
	{
		Error_Handler();
	}

	/** Initialize RAMECC1 M3 : D0TCM-RAM
	*/
	hramecc1_m3.Instance = RAMECC1_Monitor3;
	if (HAL_RAMECC_Init(&hramecc1_m3) != HAL_OK)
	{
		Error_Handler();
	}

	/** Initialize RAMECC1 M4 : D1TCM-RAM
	*/
	hramecc1_m4.Instance = RAMECC1_Monitor4;
	if (HAL_RAMECC_Init(&hramecc1_m4) != HAL_OK)
	{
		Error_Handler();
	}

	/** Initialize RAMECC1 M5 : ETM RAM
	*/
	hramecc1_m5.Instance = RAMECC1_Monitor5;
	if (HAL_RAMECC_Init(&hramecc1_m5) != HAL_OK)
	{
		Error_Handler();
	}

}

static void MX_RNG_Init(void)
{

	hrng.Instance = RNG;
	hrng.Init.ClockErrorDetection = RNG_CED_ENABLE;
	if (HAL_RNG_Init(&hrng) != HAL_OK)
	{
		Error_Handler();
	}

}

static void MX_TIM1_Init(void)
{

	TIM_MasterConfigTypeDef sMasterConfig = { 0 };
	TIM_OC_InitTypeDef sConfigOC = { 0 };
	TIM_BreakDeadTimeConfigTypeDef sBreakDeadTimeConfig = { 0 };

	htim1.Instance = TIM1;
	htim1.Init.Prescaler = 0;
	htim1.Init.CounterMode = TIM_COUNTERMODE_UP;
	htim1.Init.Period = 11999;
	htim1.Init.ClockDivision = TIM_CLOCKDIVISION_DIV1;
	htim1.Init.RepetitionCounter = 0;
	htim1.Init.AutoReloadPreload = TIM_AUTORELOAD_PRELOAD_DISABLE;
	if (HAL_TIM_PWM_Init(&htim1) != HAL_OK)
	{
		Error_Handler();
	}
	sMasterConfig.MasterOutputTrigger = TIM_TRGO_RESET;
	sMasterConfig.MasterOutputTrigger2 = TIM_TRGO2_RESET;
	sMasterConfig.MasterSlaveMode = TIM_MASTERSLAVEMODE_DISABLE;
	if (HAL_TIMEx_MasterConfigSynchronization(&htim1, &sMasterConfig) != HAL_OK)
	{
		Error_Handler();
	}
	sConfigOC.OCMode = TIM_OCMODE_PWM1;
	sConfigOC.Pulse = 0;
	sConfigOC.OCPolarity = TIM_OCPOLARITY_HIGH;
	sConfigOC.OCNPolarity = TIM_OCNPOLARITY_HIGH;
	sConfigOC.OCFastMode = TIM_OCFAST_DISABLE;
	sConfigOC.OCIdleState = TIM_OCIDLESTATE_RESET;
	sConfigOC.OCNIdleState = TIM_OCNIDLESTATE_RESET;
	if (HAL_TIM_PWM_ConfigChannel(&htim1, &sConfigOC, TIM_CHANNEL_1) != HAL_OK)
	{
		Error_Handler();
	}
	if (HAL_TIM_PWM_ConfigChannel(&htim1, &sConfigOC, TIM_CHANNEL_4) != HAL_OK)
	{
		Error_Handler();
	}
	sBreakDeadTimeConfig.OffStateRunMode = TIM_OSSR_DISABLE;
	sBreakDeadTimeConfig.OffStateIDLEMode = TIM_OSSI_DISABLE;
	sBreakDeadTimeConfig.LockLevel = TIM_LOCKLEVEL_OFF;
	sBreakDeadTimeConfig.DeadTime = 0;
	sBreakDeadTimeConfig.BreakState = TIM_BREAK_DISABLE;
	sBreakDeadTimeConfig.BreakPolarity = TIM_BREAKPOLARITY_HIGH;
	sBreakDeadTimeConfig.BreakFilter = 0;
	sBreakDeadTimeConfig.Break2State = TIM_BREAK2_DISABLE;
	sBreakDeadTimeConfig.Break2Polarity = TIM_BREAK2POLARITY_HIGH;
	sBreakDeadTimeConfig.Break2Filter = 0;
	sBreakDeadTimeConfig.AutomaticOutput = TIM_AUTOMATICOUTPUT_DISABLE;
	if (HAL_TIMEx_ConfigBreakDeadTime(&htim1, &sBreakDeadTimeConfig) != HAL_OK)
	{
		Error_Handler();
	}
	HAL_TIM_MspPostInit(&htim1);

}

static void MX_TIM3_Init(void)
{

	TIM_Encoder_InitTypeDef sConfig = { 0 };
	TIM_MasterConfigTypeDef sMasterConfig = { 0 };

	htim3.Instance = TIM3;
	htim3.Init.Prescaler = 0;
	htim3.Init.CounterMode = TIM_COUNTERMODE_UP;
	htim3.Init.Period = 65535;
	htim3.Init.ClockDivision = TIM_CLOCKDIVISION_DIV1;
	htim3.Init.AutoReloadPreload = TIM_AUTORELOAD_PRELOAD_DISABLE;
	sConfig.EncoderMode = TIM_ENCODERMODE_TI12;
	sConfig.IC1Polarity = TIM_ICPOLARITY_RISING;
	sConfig.IC1Selection = TIM_ICSELECTION_DIRECTTI;
	sConfig.IC1Prescaler = TIM_ICPSC_DIV1;
	sConfig.IC1Filter = 0;
	sConfig.IC2Polarity = TIM_ICPOLARITY_RISING;
	sConfig.IC2Selection = TIM_ICSELECTION_DIRECTTI;
	sConfig.IC2Prescaler = TIM_ICPSC_DIV1;
	sConfig.IC2Filter = 0;
	if (HAL_TIM_Encoder_Init(&htim3, &sConfig) != HAL_OK)
	{
		Error_Handler();
	}
	sMasterConfig.MasterOutputTrigger = TIM_TRGO_RESET;
	sMasterConfig.MasterSlaveMode = TIM_MASTERSLAVEMODE_DISABLE;
	if (HAL_TIMEx_MasterConfigSynchronization(&htim3, &sMasterConfig) != HAL_OK)
	{
		Error_Handler();
	}

}

static void MX_TIM4_Init(void)
{

	TIM_Encoder_InitTypeDef sConfig = { 0 };
	TIM_MasterConfigTypeDef sMasterConfig = { 0 };

	htim4.Instance = TIM4;
	htim4.Init.Prescaler = 0;
	htim4.Init.CounterMode = TIM_COUNTERMODE_UP;
	htim4.Init.Period = 65535;
	htim4.Init.ClockDivision = TIM_CLOCKDIVISION_DIV1;
	htim4.Init.AutoReloadPreload = TIM_AUTORELOAD_PRELOAD_DISABLE;
	sConfig.EncoderMode = TIM_ENCODERMODE_TI12;
	sConfig.IC1Polarity = TIM_ICPOLARITY_RISING;
	sConfig.IC1Selection = TIM_ICSELECTION_DIRECTTI;
	sConfig.IC1Prescaler = TIM_ICPSC_DIV1;
	sConfig.IC1Filter = 0;
	sConfig.IC2Polarity = TIM_ICPOLARITY_RISING;
	sConfig.IC2Selection = TIM_ICSELECTION_DIRECTTI;
	sConfig.IC2Prescaler = TIM_ICPSC_DIV1;
	sConfig.IC2Filter = 0;
	if (HAL_TIM_Encoder_Init(&htim4, &sConfig) != HAL_OK)
	{
		Error_Handler();
	}
	sMasterConfig.MasterOutputTrigger = TIM_TRGO_RESET;
	sMasterConfig.MasterSlaveMode = TIM_MASTERSLAVEMODE_DISABLE;
	if (HAL_TIMEx_MasterConfigSynchronization(&htim4, &sMasterConfig) != HAL_OK)
	{
		Error_Handler();
	}

}

static void MX_TIM7_Init(void)
{

	TIM_MasterConfigTypeDef sMasterConfig = { 0 };

	htim7.Instance = TIM7;
	htim7.Init.Prescaler = 239;
	htim7.Init.CounterMode = TIM_COUNTERMODE_UP;
	htim7.Init.Period = 9999;
	htim7.Init.AutoReloadPreload = TIM_AUTORELOAD_PRELOAD_DISABLE;
	if (HAL_TIM_Base_Init(&htim7) != HAL_OK)
	{
		Error_Handler();
	}
	sMasterConfig.MasterOutputTrigger = TIM_TRGO_RESET;
	sMasterConfig.MasterSlaveMode = TIM_MASTERSLAVEMODE_DISABLE;
	if (HAL_TIMEx_MasterConfigSynchronization(&htim7, &sMasterConfig) != HAL_OK)
	{
		Error_Handler();
	}

}

static void MX_USB_OTG_HS_PCD_Init(void)
{

	hpcd_USB_OTG_HS.Instance = USB_OTG_HS;
	hpcd_USB_OTG_HS.Init.dev_endpoints = 9;
	hpcd_USB_OTG_HS.Init.speed = PCD_SPEED_HIGH;
	hpcd_USB_OTG_HS.Init.dma_enable = ENABLE;
	hpcd_USB_OTG_HS.Init.phy_itface = USB_OTG_ULPI_PHY;
	hpcd_USB_OTG_HS.Init.Sof_enable = ENABLE;
	hpcd_USB_OTG_HS.Init.low_power_enable = DISABLE;
	hpcd_USB_OTG_HS.Init.lpm_enable = DISABLE;
	hpcd_USB_OTG_HS.Init.vbus_sensing_enable = DISABLE;
	hpcd_USB_OTG_HS.Init.use_dedicated_ep1 = DISABLE;
	hpcd_USB_OTG_HS.Init.use_external_vbus = DISABLE;
	if (HAL_PCD_Init(&hpcd_USB_OTG_HS) != HAL_OK)
	{
		Error_Handler();
	}

}

static void MX_DMA_Init(void)
{

	/* DMA controller clock enable */
	__HAL_RCC_DMA1_CLK_ENABLE();

	/* Configure DMA request hdma_memtomem_dma1_stream1 on DMA1_Stream1 */
	hdma_memtomem_dma1_stream1.Instance = DMA1_Stream1;
	hdma_memtomem_dma1_stream1.Init.Request = DMA_REQUEST_MEM2MEM;
	hdma_memtomem_dma1_stream1.Init.Direction = DMA_MEMORY_TO_MEMORY;
	hdma_memtomem_dma1_stream1.Init.PeriphInc = DMA_PINC_ENABLE;
	hdma_memtomem_dma1_stream1.Init.MemInc = DMA_MINC_ENABLE;
	hdma_memtomem_dma1_stream1.Init.PeriphDataAlignment = DMA_PDATAALIGN_WORD;
	hdma_memtomem_dma1_stream1.Init.MemDataAlignment = DMA_MDATAALIGN_WORD;
	hdma_memtomem_dma1_stream1.Init.Mode = DMA_NORMAL;
	hdma_memtomem_dma1_stream1.Init.Priority = DMA_PRIORITY_HIGH;
	hdma_memtomem_dma1_stream1.Init.FIFOMode = DMA_FIFOMODE_ENABLE;
	hdma_memtomem_dma1_stream1.Init.FIFOThreshold = DMA_FIFO_THRESHOLD_FULL;
	hdma_memtomem_dma1_stream1.Init.MemBurst = DMA_MBURST_INC4;
	hdma_memtomem_dma1_stream1.Init.PeriphBurst = DMA_PBURST_INC4;
	if (HAL_DMA_Init(&hdma_memtomem_dma1_stream1) != HAL_OK)
	{
		Error_Handler();
	}

	/* DMA interrupt init */
	/* DMA1_Stream0_IRQn interrupt configuration */
	HAL_NVIC_SetPriority(DMA1_Stream0_IRQn, 0, 0);
	HAL_NVIC_EnableIRQ(DMA1_Stream0_IRQn);
	/* DMA1_Stream2_IRQn interrupt configuration */
	HAL_NVIC_SetPriority(DMA1_Stream2_IRQn, 0, 0);
	HAL_NVIC_EnableIRQ(DMA1_Stream2_IRQn);

}

/**
  * Enable MDMA controller clock
  */
static void MX_MDMA_Init(void)
{

	/* MDMA controller clock enable */
	__HAL_RCC_MDMA_CLK_ENABLE();
	/* Local variables */

	/* MDMA interrupt initialization */
	/* MDMA_IRQn interrupt configuration */
	HAL_NVIC_SetPriority(MDMA_IRQn, 0, 0);
	HAL_NVIC_EnableIRQ(MDMA_IRQn);

}

static void MX_GPIO_Init(void)
{
	GPIO_InitTypeDef GPIO_InitStruct = { 0 };

	/* GPIO Ports Clock Enable */
	__HAL_RCC_GPIOE_CLK_ENABLE();
	__HAL_RCC_GPIOC_CLK_ENABLE();
	__HAL_RCC_GPIOH_CLK_ENABLE();
	__HAL_RCC_GPIOA_CLK_ENABLE();
	__HAL_RCC_GPIOB_CLK_ENABLE();
	__HAL_RCC_GPIOD_CLK_ENABLE();

	/*Configure GPIO pin Output Level */
	HAL_GPIO_WritePin(GPIOE, LED1_Pin | LED2_Pin | LED3_Pin, GPIO_PIN_RESET);

	/*Configure GPIO pin Output Level */
	HAL_GPIO_WritePin(GPIOB, ULPI_RST_Pin | CAM_RESET_Pin, GPIO_PIN_RESET);

	/*Configure GPIO pin Output Level */
	HAL_GPIO_WritePin(GPIOD, AIN_2_Pin | AIN_1_Pin | STBY_Pin | BIN_2_Pin
		| BIN_1_Pin, GPIO_PIN_RESET);

	/*Configure GPIO pins : PRG_MODE0_Pin PRG_MODE1_Pin PRG_MODE2_Pin */
	GPIO_InitStruct.Pin = PRG_MODE0_Pin | PRG_MODE1_Pin | PRG_MODE2_Pin;
	GPIO_InitStruct.Mode = GPIO_MODE_INPUT;
	GPIO_InitStruct.Pull = GPIO_NOPULL;
	HAL_GPIO_Init(GPIOC, &GPIO_InitStruct);

	/*Configure GPIO pins : LED1_Pin LED2_Pin LED3_Pin */
	GPIO_InitStruct.Pin = LED1_Pin | LED2_Pin | LED3_Pin;
	GPIO_InitStruct.Mode = GPIO_MODE_OUTPUT_PP;
	GPIO_InitStruct.Pull = GPIO_NOPULL;
	GPIO_InitStruct.Speed = GPIO_SPEED_FREQ_LOW;
	HAL_GPIO_Init(GPIOE, &GPIO_InitStruct);

	/*Configure GPIO pins : ULPI_RST_Pin CAM_RESET_Pin */
	GPIO_InitStruct.Pin = ULPI_RST_Pin | CAM_RESET_Pin;
	GPIO_InitStruct.Mode = GPIO_MODE_OUTPUT_PP;
	GPIO_InitStruct.Pull = GPIO_NOPULL;
	GPIO_InitStruct.Speed = GPIO_SPEED_FREQ_LOW;
	HAL_GPIO_Init(GPIOB, &GPIO_InitStruct);

	/*Configure GPIO pin : USER_BUTTON_Pin */
	GPIO_InitStruct.Pin = USER_BUTTON_Pin;
	GPIO_InitStruct.Mode = GPIO_MODE_IT_FALLING;
	GPIO_InitStruct.Pull = GPIO_NOPULL;
	HAL_GPIO_Init(USER_BUTTON_GPIO_Port, &GPIO_InitStruct);

	/*Configure GPIO pins : AIN_2_Pin AIN_1_Pin STBY_Pin BIN_2_Pin
							 BIN_1_Pin */
	GPIO_InitStruct.Pin = AIN_2_Pin | AIN_1_Pin | STBY_Pin | BIN_2_Pin
		| BIN_1_Pin;
	GPIO_InitStruct.Mode = GPIO_MODE_OUTPUT_PP;
	GPIO_InitStruct.Pull = GPIO_NOPULL;
	GPIO_InitStruct.Speed = GPIO_SPEED_FREQ_LOW;
	HAL_GPIO_Init(GPIOD, &GPIO_InitStruct);

	/*Configure GPIO pin : XCLK_Pin */
	GPIO_InitStruct.Pin = XCLK_Pin;
	GPIO_InitStruct.Mode = GPIO_MODE_AF_PP;
	GPIO_InitStruct.Pull = GPIO_NOPULL;
	GPIO_InitStruct.Speed = GPIO_SPEED_FREQ_HIGH;
	GPIO_InitStruct.Alternate = GPIO_AF0_MCO;
	HAL_GPIO_Init(XCLK_GPIO_Port, &GPIO_InitStruct);

	/* EXTI interrupt init*/
	HAL_NVIC_SetPriority(USER_BUTTON_EXTI_IRQn, 0, 0);
	HAL_NVIC_EnableIRQ(USER_BUTTON_EXTI_IRQn);

}

 /* MPU Configuration */

void MPU_Config(void)
{
	MPU_Region_InitTypeDef MPU_InitStruct = { 0 };

	/* Disables the MPU */
	HAL_MPU_Disable();

	/** Initializes and configures the Region and the memory to be protected
	*/
	MPU_InitStruct.Enable = MPU_REGION_ENABLE;
	MPU_InitStruct.Number = MPU_REGION_NUMBER0;
	MPU_InitStruct.BaseAddress = 0x0;
	MPU_InitStruct.Size = MPU_REGION_SIZE_4GB;
	MPU_InitStruct.SubRegionDisable = 0x87;
	MPU_InitStruct.TypeExtField = MPU_TEX_LEVEL0;
	MPU_InitStruct.AccessPermission = MPU_REGION_NO_ACCESS;
	MPU_InitStruct.DisableExec = MPU_INSTRUCTION_ACCESS_DISABLE;
	MPU_InitStruct.IsShareable = MPU_ACCESS_SHAREABLE;
	MPU_InitStruct.IsCacheable = MPU_ACCESS_NOT_CACHEABLE;
	MPU_InitStruct.IsBufferable = MPU_ACCESS_NOT_BUFFERABLE;

	HAL_MPU_ConfigRegion(&MPU_InitStruct);
	/* Enables the MPU */
	HAL_MPU_Enable(MPU_PRIVILEGED_DEFAULT);

}

void Error_Handler(void)
{
	__disable_irq();
	while (1)
	{
	}
}
